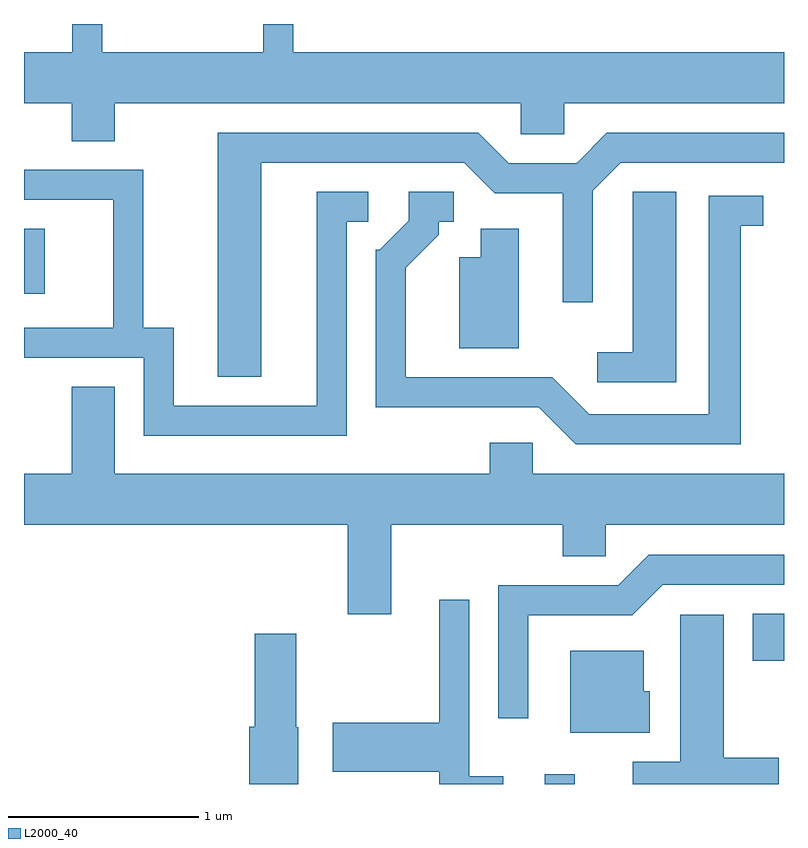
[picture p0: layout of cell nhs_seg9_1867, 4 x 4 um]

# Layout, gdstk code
import gdstk
lib = gdstk.Library(unit=1e-6, precision=1e-09)
def R(c, l, rs):  # rectangles x0, y0, x1, y1
    for r in rs: c.add(gdstk.rectangle(r[:2], r[2:], *l))
def P(c, l, *ps):  # polygons
    for p in ps: c.add(gdstk.Polygon(p, *l))
L2000_40 = (2000, 40)

nhs_seg9_1867 = lib.new_cell('nhs_seg9_1867')
R(nhs_seg9_1867, L2000_40, [(242.351,2010.432,242.509,2010.483), (243.446,2011.081,243.611,2011.329), (239.611,2013.011,239.719,2013.354)])
P(nhs_seg9_1867, L2000_40, [(240.089,2014.016),(242.226,2014.016),(242.226,2013.851),(242.454,2013.851),(242.454,2014.016),(243.611,2014.016),(243.611,2014.284),(241.029,2014.284),(241.029,2014.432),(240.871,2014.432),(240.871,2014.284),(240.024,2014.284),(240.024,2014.432),(239.866,2014.432),(239.866,2014.284),(239.611,2014.284),(239.611,2014.016),(239.861,2014.016),(239.861,2013.816),(240.089,2013.816)],
  [(240.859,2013.701),(241.929,2013.701),(242.089,2013.541),(242.446,2013.541),(242.446,2012.968),(242.604,2012.968),(242.604,2013.554),(242.752,2013.701),(243.611,2013.701),(243.611,2013.859),(242.679,2013.859),(242.519,2013.699),(242.162,2013.699),(242.002,2013.859),(240.631,2013.859),(240.631,2012.576),(240.859,2012.576)],
  [(241.309,2013.391),(241.423,2013.391),(241.423,2013.549),(241.151,2013.549),(241.151,2012.424),(240.399,2012.424),(240.399,2012.834),(240.239,2012.834),(240.239,2013.664),(239.611,2013.664),(239.611,2013.506),(240.081,2013.506),(240.081,2012.834),(239.611,2012.834),(239.611,2012.676),(240.241,2012.676),(240.241,2012.266),(241.309,2012.266)],
  [(243.384,2013.371),(243.503,2013.371),(243.503,2013.529),(243.216,2013.529),(243.216,2012.379),(242.587,2012.379),(242.392,2012.574),(241.619,2012.574),(241.619,2013.149),(241.794,2013.324),(241.794,2013.391),(241.873,2013.391),(241.873,2013.549),(241.636,2013.549),(241.636,2013.397),(241.484,2013.244),(241.461,2013.244),(241.461,2012.416),(242.319,2012.416),(242.514,2012.221),(243.384,2012.221)],
  [(243.044,2013.549),(242.816,2013.549),(242.816,2012.704),(242.628,2012.704),(242.628,2012.546),(243.044,2012.546)],
  [(242.214,2013.354),(242.016,2013.354),(242.016,2013.204),(241.901,2013.204),(241.901,2012.726),(242.214,2012.726)],
  [(241.544,2011.796),(242.446,2011.796),(242.446,2011.631),(242.674,2011.631),(242.674,2011.796),(243.611,2011.796),(243.611,2012.064),(242.289,2012.064),(242.289,2012.229),(242.061,2012.229),(242.061,2012.064),(240.089,2012.064),(240.089,2012.524),(239.861,2012.524),(239.861,2012.064),(239.611,2012.064),(239.611,2011.796),(241.316,2011.796),(241.316,2011.326),(241.544,2011.326)],
  [(242.264,2011.321),(242.812,2011.321),(242.972,2011.481),(243.611,2011.481),(243.611,2011.639),(242.899,2011.639),(242.739,2011.479),(242.106,2011.479),(242.106,2010.778),(242.264,2010.778)],
  [(242.134,2010.474),(241.954,2010.474),(241.954,2011.403),(241.796,2011.403),(241.796,2010.754),(241.236,2010.754),(241.236,2010.496),(241.796,2010.496),(241.796,2010.432),(242.134,2010.432)],
  [(243.584,2010.569),(243.294,2010.569),(243.294,2011.324),(243.066,2011.324),(243.066,2010.549),(242.816,2010.549),(242.816,2010.432),(243.584,2010.432)],
  [(241.054,2010.73),(241.044,2010.73),(241.044,2011.224),(240.826,2011.224),(240.826,2010.734),(240.796,2010.734),(240.796,2010.432),(241.054,2010.432)],
  [(242.904,2010.919),(242.874,2010.919),(242.874,2011.134),(242.486,2011.134),(242.486,2010.701),(242.904,2010.701)])

lib.write_gds('nhs_seg9_1867.gds')
